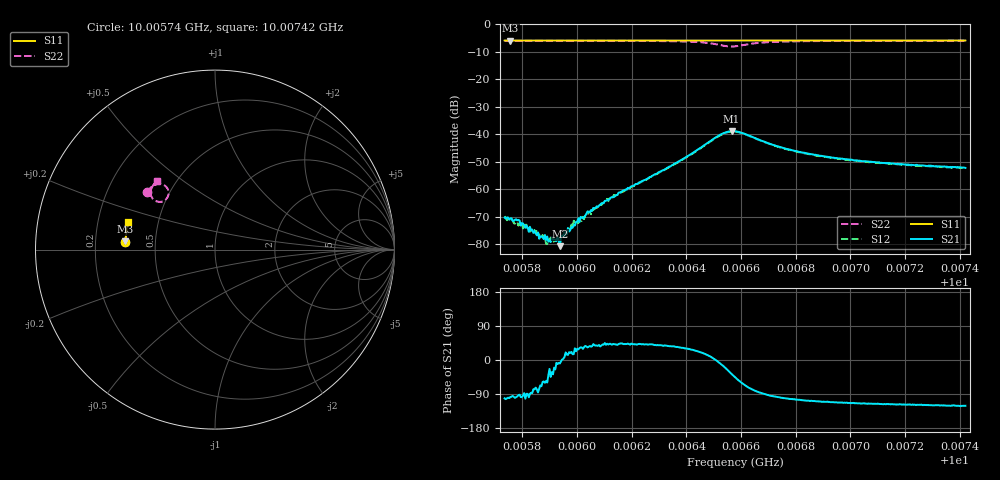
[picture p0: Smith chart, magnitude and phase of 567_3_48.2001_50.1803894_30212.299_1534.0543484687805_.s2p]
#  HZ  S  RI  R  50.00
! Rohde & Schwarz Vector Network Analyzer
! Rohde-Schwarz,ZNB20-2Port,1311601062101988,3.16
! Created: UTC 3/20/2024, 12:01:32 PM
! freq[Hz]  re:S11  im:S11  re:S21  im:S21  re:S12  im:S12  re:S22  im:S22
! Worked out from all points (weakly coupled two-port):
!   401 points, 10.00574 GHz to 10.00742 GHz, reference 50 ohm
!   highest |S21| = -38.93 dB at 10.00657 GHz (marker M1); lowest = -80.8 dB at 10.00594 GHz (marker M2)
!   lowest |S11| = -6.0 dB at 10.00576 GHz (marker M3), VSWR 3.01, Z = 16.6 + j2.02 ohm
!   |S11| at or under -10 dB: nowhere
!   |S22| runs from -8.1 to -6.0 dB; largest |S21 - S12| = 0.00075
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1.0005736e10  -0.4997 0.0442  -5.89e-05 -0.000298  -6.92e-05 -0.000314  -0.3806 0.3203
1.0005757e10  -0.4996 0.0455  -3.91e-05 -0.00029  -5.66e-05 -0.000287  -0.3796 0.3214
1.0005782e10  -0.4996 0.0472  -2.82e-05 -0.000269  -1.64e-05 -0.000255  -0.3784 0.3228
1.0005807e10  -0.4993 0.0489  9.67e-06 -0.000218  -8.52e-06 -0.000242  -0.3771 0.3246
1.0005845e10  -0.4994 0.0513  3.86e-05 -0.00017  3.34e-05 -0.000177  -0.3754 0.3267
1.0005887e10  -0.4991 0.054  6.7e-05 -9.77e-05  5.73e-05 -8.28e-05  -0.373 0.3295
1.0005925e10  -0.499 0.0565  0.000112 -1.49e-05  0.000124 2.27e-05  -0.3708 0.332
1.0005938e10  -0.4989 0.0574  9.04e-05 -1.46e-05  0.000132 7.35e-06  -0.3703 0.3328
1.0005967e10  -0.4987 0.0593  0.000191 4.49e-05  0.00017 3.45e-05  -0.3685 0.3347
1.0005988e10  -0.4986 0.0606  0.000214 5.97e-05  0.000235 0.000126  -0.3671 0.3361
1.0006018e10  -0.4985 0.0626  0.000255 0.000167  0.000203 0.000169  -0.3653 0.338
1.0006043e10  -0.4983 0.0642  0.000317 0.000223  0.000295 0.000245  -0.3637 0.3397
1.0006102e10  -0.4977 0.068  0.000434 0.000429  0.000457 0.000369  -0.3595 0.3438
1.00063e10  -0.4963 0.0809  0.00159 0.00128  0.00146 0.00135  -0.3387 0.3593
1.0006519e10  -0.4934 0.0948  0.00941 -0.00101  0.0092 -0.000474  -0.2609 0.3311
1.0006565e10  -0.4927 0.0972  0.00905 -0.00678  0.00924 -0.0061  -0.2741 0.2793
1.0006578e10  -0.4927 0.0979  0.00789 -0.00805  0.00821 -0.00738  -0.2873 0.2703
1.0006671e10  -0.4925 0.1035  0.000487 -0.00772  0.000851 -0.00761  -0.3536 0.2937
1.0006763e10  -0.4917 0.1097  -0.00106 -0.00534  -0.000767 -0.00529  -0.3588 0.3242
1.000686e10  -0.4904 0.1159  -0.00133 -0.00407  -0.00111 -0.00402  -0.3538 0.3415
1.0007142e10  -0.4865 0.1338  -0.00132 -0.00266  -0.00116 -0.00263  -0.3372 0.3674
1.000742e10  -0.482 0.1512  -0.00124 -0.00209  -0.00113 -0.00213  -0.322 0.384
